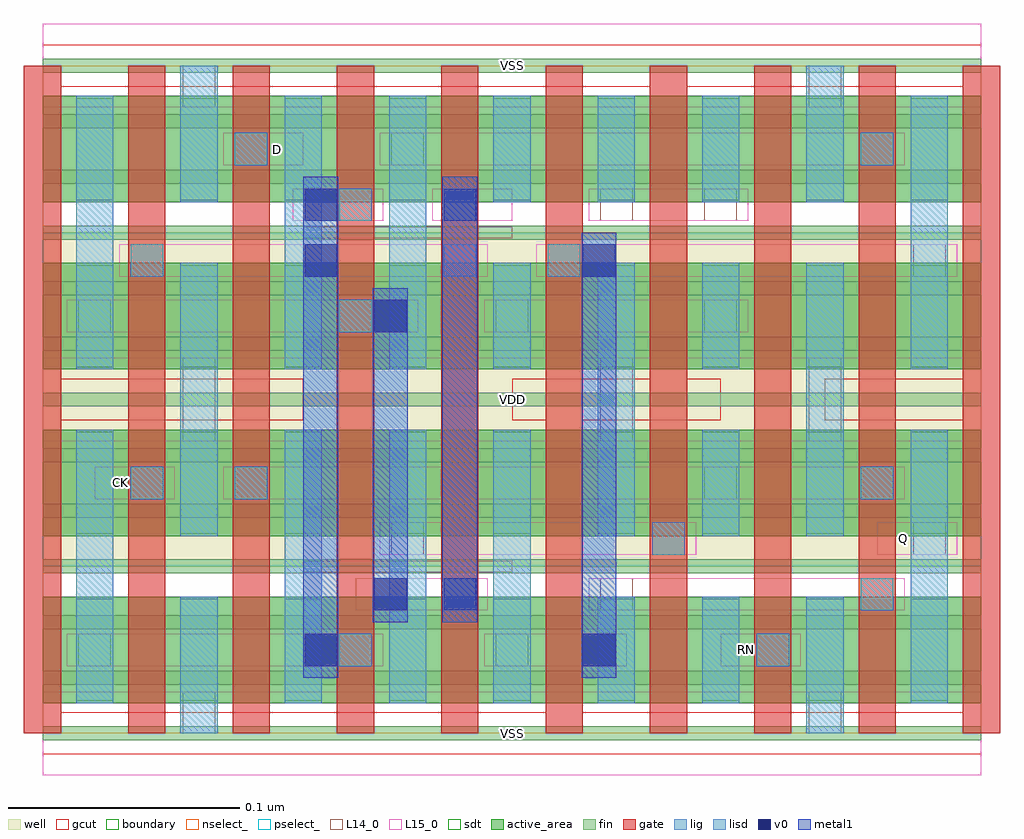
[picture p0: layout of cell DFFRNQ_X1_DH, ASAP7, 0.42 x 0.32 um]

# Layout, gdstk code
import gdstk
lib = gdstk.Library(unit=1e-6, precision=2.5e-10)
def R(c, l, rs):  # rectangles x0, y0, x1, y1
    for r in rs: c.add(gdstk.rectangle(r[:2], r[2:], *l))
def A(c, l, x, y, w, h, nx, ny, dx, dy):  # array of equal rectangles
    R(c, l, [(x+i*dx, y+j*dy, x+i*dx+w, y+j*dy+h) for i in range(nx) for j in range(ny)])
def P(c, l, *ps):  # polygons
    for p in ps: c.add(gdstk.Polygon(p, *l))
well = (1, 0)
fin = (2, 0)
gate = (7, 0)
gcut = (10, 0)
active_area = (11, 0)
nselect_ = (12, 0)
pselect_ = (13, 0)
L14_0 = (14, 0)
L15_0 = (15, 0)
lig = (16, 0)
lisd = (17, 0)
v0 = (18, 0)
metal1 = (19, 0)
sdt = (88, 0)
boundary = (100, 0)

dffrnq_x1_dh = lib.new_cell('DFFRNQ_X1_DH')
R(dffrnq_x1_dh, well, [(0,0.072,0.405,0.144), (0,0.144,0.405,0.216)])
A(dffrnq_x1_dh, fin, 0, -0.003, 0.405, 0.006, 1, 13, 0, 0.024)
A(dffrnq_x1_dh, gate, -0.008, 0, 0.016, 0.288, 10, 1, 0.045, 0)
R(dffrnq_x1_dh, gcut, [(0.1125,0.0695,0.2025,0.0745), (0.1125,0.2135,0.2025,0.2185)])
P(dffrnq_x1_dh, gcut, [(0,-0.009),(0,0),(-0.008,0),(-0.008,0.279),(0.008,0.279),(0.008,0.153),(0.1125,0.153),(0.1125,0.135),(0.008,0.135),(0.008,0.009),(0.217,0.009),(0.217,0.135),(0.2025,0.135),(0.2025,0.153),(0.262,0.153),(0.262,0.279),(0.278,0.279),(0.278,0.153),(0.2925,0.153),(0.2925,0.135),(0.233,0.135),(0.233,0.009),(0.397,0.009),(0.397,0.135),(0.3375,0.135),(0.3375,0.153),(0.397,0.153),(0.397,0.279),(-0.008,0.279),(-0.008,0.288),(0,0.288),(0,0.297),(0.405,0.297),(0.405,0.288),(0.413,0.288),(0.413,0),(0.405,0),(0.405,-0.009)])
A(dffrnq_x1_dh, active_area, 0, 0.013, 0.405, 0.046, 1, 4, 0, 0.072)
R(dffrnq_x1_dh, nselect_, [(0,0,0.405,0.072), (0,0.216,0.405,0.288)])
R(dffrnq_x1_dh, pselect_, [(0,0.072,0.405,0.144), (0,0.144,0.405,0.216)])
A(dffrnq_x1_dh, L14_0, 0.1505, 0.077, 0.014, 0.014, 3, 1, 0.1125, 0)
R(dffrnq_x1_dh, L14_0, [(0.0605,0,0.0745,0.018), (0.3305,0,0.3445,0.018), (0.0155,0.029,0.0295,0.043), (0.128,0.029,0.142,0.043), (0.1955,0.029,0.2095,0.043), (0.308,0.029,0.322,0.043), (0.173,0.053,0.187,0.067), (0.2405,0.053,0.2545,0.067), (0.353,0.053,0.367,0.067), (0.038,0.101,0.052,0.115), (0.083,0.101,0.097,0.115), (0.2855,0.101,0.2995,0.115), (0.353,0.101,0.367,0.115), (0.0605,0.126,0.0745,0.144), (0.2405,0.126,0.2545,0.144), (0.3305,0.126,0.3445,0.144), (0.0605,0.144,0.0745,0.162), (0.2405,0.144,0.2545,0.162), (0.3305,0.144,0.3445,0.162), (0.0155,0.173,0.0295,0.187), (0.128,0.173,0.142,0.187), (0.1955,0.173,0.2095,0.187), (0.2855,0.173,0.2995,0.187), (0.038,0.197,0.052,0.211), (0.173,0.197,0.187,0.211), (0.218,0.197,0.232,0.211), (0.3755,0.197,0.3895,0.211), (0.128,0.221,0.142,0.235), (0.173,0.221,0.187,0.235), (0.2405,0.221,0.2545,0.235), (0.2855,0.221,0.2995,0.235), (0.083,0.245,0.097,0.259), (0.1505,0.245,0.1645,0.259), (0.353,0.245,0.367,0.259), (0.0605,0.27,0.0745,0.288), (0.3305,0.27,0.3445,0.288)])
A(dffrnq_x1_dh, L15_0, 0, -0.018, 0.405, 0.036, 1, 3, 0, 0.144)
R(dffrnq_x1_dh, L15_0, [(0.0105,0.029,0.147,0.043), (0.1905,0.029,0.252,0.043), (0.2925,0.029,0.327,0.043), (0.135,0.053,0.192,0.067), (0.2355,0.053,0.372,0.067), (0.1455,0.077,0.282,0.091), (0.36,0.077,0.3945,0.091), (0.0225,0.101,0.057,0.115), (0.078,0.101,0.372,0.115), (0.0105,0.173,0.162,0.187), (0.1905,0.173,0.3045,0.187), (0.033,0.197,0.192,0.211), (0.213,0.197,0.3945,0.211), (0.108,0.221,0.147,0.235), (0.168,0.221,0.2025,0.235), (0.2355,0.221,0.3045,0.235), (0.078,0.245,0.1125,0.259), (0.1455,0.245,0.372,0.259)])
R(dffrnq_x1_dh, lig, [(0.128,0.029,0.142,0.043), (0.308,0.029,0.322,0.043), (0.173,0.053,0.187,0.067), (0.353,0.053,0.367,0.067), (0.263,0.077,0.277,0.091), (0.038,0.101,0.052,0.115), (0.083,0.101,0.097,0.115), (0.353,0.101,0.367,0.115), (0.128,0.173,0.142,0.187), (0.038,0.197,0.052,0.211), (0.173,0.197,0.187,0.211), (0.218,0.197,0.232,0.211), (0.128,0.221,0.142,0.235), (0.173,0.221,0.187,0.235), (0.083,0.245,0.097,0.259), (0.353,0.245,0.367,0.259)])
A(dffrnq_x1_dh, lisd, 0.1045, 0.013, 0.016, 0.118, 3, 1, 0.045, 0)
A(dffrnq_x1_dh, lisd, 0.2845, 0.013, 0.016, 0.046, 1, 3, 0, 0.072)
A(dffrnq_x1_dh, lisd, 0.1945, 0.229, 0.016, 0.046, 3, 1, 0.045, 0)
R(dffrnq_x1_dh, lisd, [(0.0595,0,0.0755,0.059), (0.3295,0,0.3455,0.059), (0.0145,0.013,0.0305,0.131), (0.2395,0.013,0.2555,0.059), (0.3745,0.013,0.3905,0.131), (0.0595,0.085,0.0755,0.203), (0.2395,0.085,0.2555,0.203), (0.3295,0.085,0.3455,0.203), (0.0145,0.157,0.0305,0.275), (0.1045,0.157,0.1205,0.275), (0.1495,0.157,0.1655,0.275), (0.1945,0.157,0.2105,0.203), (0.3745,0.157,0.3905,0.275), (0.0595,0.229,0.0755,0.288), (0.3295,0.229,0.3455,0.288)])
R(dffrnq_x1_dh, v0, [(0.113,0.029,0.127,0.043), (0.233,0.029,0.247,0.043), (0.143,0.053,0.157,0.067), (0.173,0.053,0.187,0.067), (0.143,0.173,0.157,0.187), (0.113,0.197,0.127,0.211), (0.233,0.197,0.247,0.211), (0.113,0.221,0.127,0.235), (0.173,0.221,0.187,0.235)])
R(dffrnq_x1_dh, metal1, [(0.1125,0.024,0.1275,0.24), (0.2325,0.024,0.2475,0.216), (0.1425,0.048,0.1575,0.192), (0.1725,0.048,0.1875,0.24)])
A(dffrnq_x1_dh, sdt, 0.0145, 0.014, 0.016, 0.044, 9, 4, 0.045, 0.072)
R(dffrnq_x1_dh, boundary, [(0,0,0.405,0.288)])
dffrnq_x1_dh.add(gdstk.Label('VSS', (0.2025,0.288), layer=15, texttype=251))
dffrnq_x1_dh.add(gdstk.Label('VDD', (0.2025,0.144), layer=15, texttype=251))
dffrnq_x1_dh.add(gdstk.Label('VDD', (0.2025,0.144), layer=15, texttype=251))
dffrnq_x1_dh.add(gdstk.Label('VSS', (0.2025,0), layer=15, texttype=251))
dffrnq_x1_dh.add(gdstk.Label('Q', (0.3713,0.084), layer=15, texttype=251))
dffrnq_x1_dh.add(gdstk.Label('VSS', (0.2025,0.288), layer=15, texttype=251))
dffrnq_x1_dh.add(gdstk.Label('VDD', (0.2025,0.144), layer=15, texttype=251))
dffrnq_x1_dh.add(gdstk.Label('VDD', (0.2025,0.144), layer=15, texttype=251))
dffrnq_x1_dh.add(gdstk.Label('VSS', (0.2025,0), layer=15, texttype=251))
dffrnq_x1_dh.add(gdstk.Label('CK', (0.0338,0.108), layer=15, texttype=251))
dffrnq_x1_dh.add(gdstk.Label('VSS', (0.2025,0.288), layer=15, texttype=251))
dffrnq_x1_dh.add(gdstk.Label('VDD', (0.2025,0.144), layer=15, texttype=251))
dffrnq_x1_dh.add(gdstk.Label('VDD', (0.2025,0.144), layer=15, texttype=251))
dffrnq_x1_dh.add(gdstk.Label('VSS', (0.2025,0), layer=15, texttype=251))
dffrnq_x1_dh.add(gdstk.Label('RN', (0.3038,0.036), layer=15, texttype=251))
dffrnq_x1_dh.add(gdstk.Label('VSS', (0.2025,0.288), layer=15, texttype=251))
dffrnq_x1_dh.add(gdstk.Label('VDD', (0.2025,0.144), layer=15, texttype=251))
dffrnq_x1_dh.add(gdstk.Label('VDD', (0.2025,0.144), layer=15, texttype=251))
dffrnq_x1_dh.add(gdstk.Label('VSS', (0.2025,0), layer=15, texttype=251))
dffrnq_x1_dh.add(gdstk.Label('D', (0.1013,0.252), layer=15, texttype=251))
dffrnq_x1_dh.add(gdstk.Label('VSS', (0.2025,0.288), layer=3, texttype=251))
dffrnq_x1_dh.add(gdstk.Label('VSS', (0.2025,0), layer=3, texttype=251))
dffrnq_x1_dh.add(gdstk.Label('VSS', (0.2025,0.288), layer=3, texttype=251))
dffrnq_x1_dh.add(gdstk.Label('VSS', (0.2025,0), layer=3, texttype=251))
dffrnq_x1_dh.add(gdstk.Label('VSS', (0.2025,0.288), layer=3, texttype=251))
dffrnq_x1_dh.add(gdstk.Label('VSS', (0.2025,0), layer=3, texttype=251))
dffrnq_x1_dh.add(gdstk.Label('VSS', (0.2025,0.288), layer=3, texttype=251))
dffrnq_x1_dh.add(gdstk.Label('VSS', (0.2025,0), layer=3, texttype=251))
dffrnq_x1_dh.add(gdstk.Label('VDD', (0.2025,0.144), layer=1, texttype=251))
dffrnq_x1_dh.add(gdstk.Label('VDD', (0.2025,0.144), layer=1, texttype=251))
dffrnq_x1_dh.add(gdstk.Label('VDD', (0.2025,0.144), layer=1, texttype=251))
dffrnq_x1_dh.add(gdstk.Label('VDD', (0.2025,0.144), layer=1, texttype=251))
dffrnq_x1_dh.add(gdstk.Label('VDD', (0.2025,0.144), layer=1, texttype=251))
dffrnq_x1_dh.add(gdstk.Label('VDD', (0.2025,0.144), layer=1, texttype=251))
dffrnq_x1_dh.add(gdstk.Label('VDD', (0.2025,0.144), layer=1, texttype=251))
dffrnq_x1_dh.add(gdstk.Label('VDD', (0.2025,0.144), layer=1, texttype=251))

lib.write_gds('DFFRNQ_X1_DH.gds')
